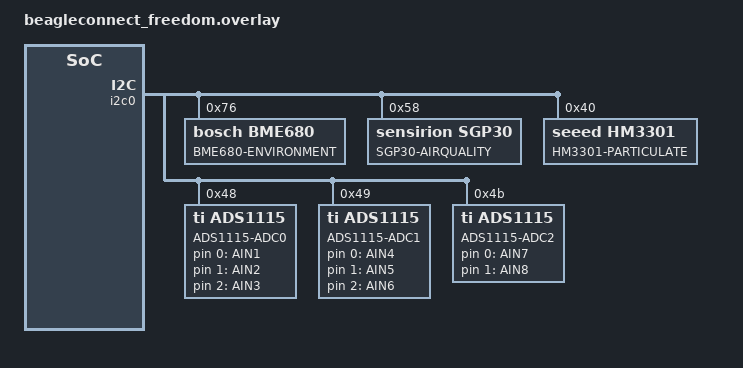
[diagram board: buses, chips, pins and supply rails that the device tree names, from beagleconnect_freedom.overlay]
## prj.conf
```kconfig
CONFIG_I2C_LOG_LEVEL_DBG=y
CONFIG_CONSOLE_SUBSYS=y
CONFIG_CONSOLE_GETCHAR=y
CONFIG_ENTROPY_GENERATOR=y
CONFIG_LED=y
CONFIG_LOG=y
CONFIG_SHELL=y
CONFIG_GPIO_SHELL=y
CONFIG_SENSOR=y
#CONFIG_SENSOR_LOG_LEVEL_DBG=y
CONFIG_ADC=y
CONFIG_ADC_ADS1115=y
CONFIG_BME680=y
CONFIG_HM3301=y
#CONFIG_SGP30=y
CONFIG_IEEE802154=y
CONFIG_NETWORKING=y
CONFIG_NET_ICMPV6_LOG_LEVEL_DBG=y
CONFIG_NET_HOSTNAME_ENABLE=y
CONFIG_NET_IF_UNICAST_IPV6_ADDR_COUNT=3
CONFIG_NET_IF_MCAST_IPV6_ADDR_COUNT=4
CONFIG_NET_SHELL=y
CONFIG_NET_TCP=y
#CONFIG_NET_TCP1=y
CONFIG_NET_MAX_CONN=8
CONFIG_NET_MAX_CONTEXTS=10
CONFIG_NET_CONTEXT_NET_PKT_POOL=y
CONFIG_NET_PKT_RX_COUNT=8
CONFIG_NET_BUF_RX_COUNT=64
CONFIG_NET_PKT_TX_COUNT=20
CONFIG_NET_BUF_TX_COUNT=50
CONFIG_NET_STATISTICS=y
CONFIG_NET_LOG=y
CONFIG_MDNS_RESPONDER=y
CONFIG_DNS_SD=y
CONFIG_NET_CONFIG_AUTO_INIT=y
CONFIG_NET_CONFIG_SETTINGS=y
CONFIG_NET_CONFIG_MY_IPV6_ADDR="2001:db8::1"
CONFIG_NET_CONFIG_PEER_IPV6_ADDR="2001:db8::2"
CONFIG_NET_SOCKETS=y
CONFIG_NET_SOCKETS_POSIX_NAMES=y
CONFIG_NET_SOCKETS_POLL_MAX=8
CONFIG_NET_CONNECTION_MANAGER=y
CONFIG_NET_CONFIG_NEED_IPV6=y
CONFIG_NET_CONFIG_NEED_IPV4=n
CONFIG_NET_L2_IEEE802154=y
CONFIG_NET_L2_IEEE802154_SHELL=y
CONFIG_NET_L2_IEEE802154_LOG_LEVEL_INF=y
CONFIG_NET_CONFIG_IEEE802154_CHANNEL=26
CONFIG_NET_CONFIG_IEEE802154_DEV_NAME="IEEE802154_0"
#CONFIG_NET_CONFIG_IEEE802154_CHANNEL=1
#CONFIG_NET_CONFIG_IEEE802154_DEV_NAME="IEEE802154_1"
CONFIG_IEEE802154_CC13XX_CC26XX=y
CONFIG_IEEE802154_CC13XX_CC26XX_SUB_GHZ=n
#CONFIG_IEEE802154_CC13XX_CC26XX=n
#CONFIG_IEEE802154_CC13XX_CC26XX_SUB_GHZ=y
CONFIG_NET_CONFIG_IEEE802154_RADIO_TX_POWER=20

# Hacks
CONFIG_NEWLIB_LIBC=y
CONFIG_POSIX_MAX_FDS=16
CONFIG_PTHREAD_IPC=y
CONFIG_MAX_PTHREAD_COUNT=16
#CONFIG_PTHREAD_DYNAMIC_STACK=y

# Telnet
CONFIG_NET_SHELL=y
CONFIG_KERNEL_SHELL=y
CONFIG_SHELL_BACKEND_TELNET=y
CONFIG_SHELL_TELNET_SUPPORT_COMMAND=y
```

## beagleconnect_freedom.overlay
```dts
/*
 * Copyright (c) 2020, Jason Kridner, BeagleBoard.org Foundation
 *
 * SPDX-License-Identifier: Apache-2.0
 */

/ {
	zephyr,user {
		io-channels = <&adsadc0 0>, <&adsadc0 1>, <&adsadc0 2>,
			<&adsadc1 0>, <&adsadc1 1>, <&adsadc1 2>,
			<&adsadc2 0>, <&adsadc2 1>, <&adsadc2 2>;
		io-channel-names = "AIN1", "AIN2", "AIN3",
			"AIN4", "AIN5", "AIN6", "AIN7", "AIN8", "AIN9";
	};
};

&i2c0 {
	// Grove module defaults to 0x76
	// Environment Click defaults to 0x77
	environment: bme680@76 {
		compatible = "bosch,bme680";
		reg = <0x76>;
		label = "BME680-ENVIRONMENT";
	};

	airquality: sgp30@58 {
		compatible = "sensirion,sgp30";
		reg = <0x58>;
		label = "SGP30-AIRQUALITY";
	};

	particulate: hm3301@40 {
		compatible = "seeed,hm3301";
		reg = <0x40>;
		label = "HM3301-PARTICULATE";
	};

	adsadc0: ads1115_0@48 {
		compatible = "ti,ads1115";
		#io-channel-cells = <1>;
		reg = <0x48>;
		/* sample_rate = <> */
		continuous_mode = <0>;
		/* avg_method = "rms"; */
		label = "ADS1115-ADC0";
	};

	adsadc1: ads1115_1@49 {
		compatible = "ti,ads1115";
		#io-channel-cells = <1>;
		reg = <0x49>;
		continuous_mode = <0>;
		label = "ADS1115-ADC1";
	};

	adsadc2: ads1115_2@4b {
		compatible = "ti,ads1115";
		#io-channel-cells = <1>;
		reg = <0x4b>;
		continuous_mode = <0>;
		label = "ADS1115-ADC2";
	};
};
```

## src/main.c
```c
/*
 * Copyright (c) 2020 Friedt Professional Engineering Services, Inc
 * Copyright (c) 2020 Jason Kridner
 *
 * SPDX-License-Identifier: Apache-2.0
 */

#include <zephyr.h>
#include <device.h>
#include <drivers/gpio.h>
#include <drivers/led.h>
#include <drivers/sensor.h>
#include <drivers/adc.h>
#include <stdio.h>
#include <stdbool.h>
#include <stdint.h>
#include <string.h>
#include <net/net_ip.h>
#include <net/socket.h>
#include <sys/util.h>
#include <random/rand32.h>
#include <devicetree.h>
#include <devicetree/io-channels.h>
#include <errno.h>
#include <linker/sections.h>
#include <net/net_core.h>
#include <net/net_mgmt.h>

#include <math.h>

#define LOG_LEVEL LOG_LEVEL_INF
#include <logging/log.h>
LOG_MODULE_REGISTER(sensortest);

#define MCAST_IP6ADDR "ff84::2"

#define BLINK_MS 500

#define ADC_NUM_CHANNELS	DT_PROP_LEN(DT_PATH(zephyr_user), io_channels)
#define ADC_NODE		DT_PHANDLE(DT_PATH(zephyr_user), io_channels)
#define ADC_REFERENCE		ADC_REF_INTERNAL
#define ADC_ACQUISITION_TIME	ADC_ACQ_TIME_DEFAULT
#define ADC_REF_MV		49152  /* 4.096V * 12x divider * 1000mV/V */

#define MAX_STR_LEN 200
static char outstr[MAX_STR_LEN];

enum api {
	BUTTON_API,
	SENSOR_API,
	ADC_API,
};

enum edev {
	BUTTON,
	LIGHT,
	ACCEL,
	HUMIDITY,
	ENVIRONMENT,
	AIRQUALITY,
	PARTICULATE,
	ADC_0,
	ADC_1,
	ADC_2,
	NUM_DEVICES,
};

struct led_work {
	uint8_t active_led;
	struct k_work_delayable dwork;
};

static void sensor_work_handler(struct k_work *work);

static const char *device_labels[NUM_DEVICES] = {
	[BUTTON] = DT_LABEL(DT_ALIAS(sw0)),
	[LIGHT] = "LIGHT",
	[ACCEL] = "ACCEL",
	[HUMIDITY] = "HUMIDITY",
	[ENVIRONMENT] = "ENVIRONMENT",
	[AIRQUALITY] = "AIRQUALITY",
	[PARTICULATE] = "PARTICULATE",
	[ADC_0] = "ADC_0",
	[ADC_1] = "ADC_1",
	[ADC_2] = "ADC_2",
};

static const char *device_names[NUM_DEVICES] = {
	[BUTTON] = DT_GPIO_LABEL(DT_ALIAS(sw0), gpios),
	[LIGHT] = "OPT3001-LIGHT",
	[ACCEL] = "LIS2DE12-ACCEL",
	[HUMIDITY] = "HDC2010-HUMIDITY",
	[ENVIRONMENT] = "BME680-ENVIRONMENT",
	[AIRQUALITY] = "SGP30-AIRQUALITY",
	[PARTICULATE] = "HM3301-PARTICULATE",
	[ADC_0] = "ADS1115-ADC0",
	[ADC_1] = "ADS1115-ADC1",
	[ADC_2] = "ADS1115-ADC2",
};

static const uint8_t device_pins[NUM_DEVICES] = {
	[BUTTON] = DT_GPIO_PIN(DT_ALIAS(sw0), gpios),
};

static const enum api apis[NUM_DEVICES] = {
	BUTTON_API,
	SENSOR_API, /* LIGHT */
	SENSOR_API, /* ACCEL */
	SENSOR_API, /* HUMIDITY */
	SENSOR_API, /* ENVIRONMENT */
	SENSOR_API, /* AIRQUALITY */
	SENSOR_API, /* PARTICULATE */
	ADC_API, /* ADC_0 */
	ADC_API, /* ADC_1 */
	ADC_API, /* ADC_2 */
};

static struct device *devices[NUM_DEVICES];

static struct k_work_delayable adc_dwork;
static struct led_work led_work;
K_WORK_DEFINE(sensor_work, sensor_work_handler);
static struct gpio_callback button_callback;

static struct sockaddr_in6 addr;
static int fd = -1;

/* Set TIMED_SENSOR_READ to 0 to disable */
#define TIMED_SENSOR_READ 60
static int sensor_read_count = TIMED_SENSOR_READ;

static void setup_telnet_ipv6(struct net_if *iface)
{
	char hr_addr[NET_IPV6_ADDR_LEN];
	struct in6_addr addr;

	if (net_addr_pton(AF_INET6, CONFIG_NET_CONFIG_MY_IPV6_ADDR, &addr)) {
		LOG_ERR("Invalid address: %s", CONFIG_NET_CONFIG_MY_IPV6_ADDR);
		return;
	}

	net_if_ipv6_addr_add(iface, &addr, NET_ADDR_MANUAL, 0);

	LOG_INF("IPv6 address: %s",
		log_strdup(net_addr_ntop(AF_INET6, &addr, hr_addr,
					 NET_IPV6_ADDR_LEN)));

	if (net_addr_pton(AF_INET6, MCAST_IP6ADDR, &addr)) {
		LOG_ERR("Invalid address: %s", MCAST_IP6ADDR);
		return;
	}

	net_if_ipv6_maddr_add(iface, &addr);
}

static void led_work_handler(struct k_work *work)
{
	ARG_UNUSED(work);

	int r;

	/*
	uint8_t prev_led;

	LOG_DBG("%s(): active_led: %u", __func__, led_work.active_led);

	if (led_work.active_led == LED_SUBG) {
		prev_led = LED_24G;
	} else {
		prev_led = LED_SUBG;
	}

	r = gpio_pin_set(devices[prev_led], device_pins[prev_led], 0);
	__ASSERT(r == 0, "failed to turn off led %u: %d", prev_led, r);

	r = gpio_pin_set(devices[led_work.active_led],
			 device_pins[led_work.active_led], 1);
	__ASSERT(r == 0, "failed to turn on led %u: %d", led_work.active_led,
		 r);

	if (led_work.active_led == LED_SUBG) {
		led_work.active_led = LED_24G;
	} else {
		led_work.active_led = LED_SUBG;
	}
	*/

	r = k_work_schedule(&led_work.dwork, K_MSEC(BLINK_MS));
	__ASSERT(r == 0, "k_work_schedule() failed for LED %u work: %d",
		 led_work.active_led, r);

	if (sensor_read_count > 0) {
		sensor_read_count--;
		if (sensor_read_count <= 0) {
			sensor_read_count = TIMED_SENSOR_READ;
			if(TIMED_SENSOR_READ > 0)
				sensor_read_count +=
				       	sys_rand32_get() % TIMED_SENSOR_READ;
			k_work_submit(&sensor_work);
		}
	}
}

static void print_sensor_value(size_t idx, const char *chan,
			       struct sensor_value *val)
{
	LOG_INF("%s: %s%d,%d", device_labels[idx], chan, val->val1, val->val2);

	sprintf(outstr+strlen(outstr), "%d%c:", idx, chan[0]);
	sprintf(outstr+strlen(outstr), "%d", val->val1);
	if (val->val2 != 0) {
		sprintf(outstr+strlen(outstr), ".%02d;", abs(val->val2) / 10000);
	} else {
		sprintf(outstr+strlen(outstr), ";");
	}
}

static void send_sensor_value()
{
	if ((fd >= 0) && (strlen(outstr) > 0)) {
		//LOG_INF("%s", log_strdup(outstr));
		sendto(fd, outstr, strlen(outstr), 0,
			(const struct sockaddr *) &addr,
			sizeof(addr));
	}

	outstr[0] = '\0';
}

/* Sampling frequency: 475Hz, 2.1ms
 * Oversample window: 32 samples, 67.3ms, 14.8Hz
 * Data window: 16 RMS samples, 1.1s of data
 */

#define NUM_SAMPLES 16
uint16_t ain0_buffer[NUM_SAMPLES];
char ain0_txbuf[3+NUM_SAMPLES*2] = "A0:";

struct adc_channel_cfg ain0_channel_cfg = {
	.gain = ADC_GAIN_1,
	.reference = ADC_REF_INTERNAL,
	.acquisition_time = ADC_ACQ_TIME_DEFAULT,
	.channel_id = DT_IO_CHANNELS_INPUT_BY_IDX(DT_PATH(zephyr_user), 0),
	.differential = 0,
};

const struct adc_sequence_options ain0_seq_options = {
	.interval_us = 1000,
	.extra_samplings = NUM_SAMPLES-1,
	.callback = NULL,
	.user_data = NULL,
};

struct adc_sequence sequence0 = {
	.options = &ain0_seq_options,
	.channels = 1,
	.buffer = ain0_buffer,
	.buffer_size = sizeof(ain0_buffer),
	.resolution = 16,
	.oversampling = 5,
	.calibrate = false,
};

static void adc_work_handler(struct k_work *work)
{
	int err;
	const struct device * dev = devices[ADC_0];

	err = adc_read(dev, &sequence0);
	if (err != 0) {
		LOG_ERR("ADC reading failed with error %d.", err);
		return;
	}

	LOG_INF("ADC reading:");
	for (uint8_t i = 0; i < 2*NUM_SAMPLES; i+=2) {
		int32_t raw_value = ain0_buffer[i/2];
		int32_t mv_value = raw_value;
		adc_raw_to_millivolts(ADC_REF_MV, ADC_GAIN_1,
			16, &mv_value);
		LOG_INF(" %d: %d = %d mV", i/2, raw_value, mv_value);
	}

	if ((fd >= 0)) {
		memcpy(ain0_txbuf+3, ain0_buffer, NUM_SAMPLES*2);
		sendto(fd, ain0_txbuf, 3+NUM_SAMPLES*2, 0,
			(const struct sockaddr *) &addr,
			sizeof(addr));
	}

	err = k_work_schedule(&adc_dwork, K_MSEC(5000));
	__ASSERT(err == 0, "k_work_schedule() failed for adc_dwork: %d", r);

	return;
}

static void sensor_work_handler(struct k_work *work)
{
	struct sensor_value val;
	struct sensor_value th[2] = {{0,0}, {0,0}}; /* calibration data for SGP30 */

	outstr[0] = '\0';

	for (size_t i = 0; i < NUM_DEVICES; ++i) {
		if (apis[i] != SENSOR_API) {
			continue;
		}

		if (devices[i] == NULL) {
			continue;
		}

		sensor_sample_fetch(devices[i]);

		if (i == LIGHT) {
			sensor_channel_get(devices[i], SENSOR_CHAN_LIGHT, &val);
			print_sensor_value(i, "l: ", &val);
			send_sensor_value();
			continue;
		}

		if (i == ACCEL) {
			sensor_channel_get(devices[i], SENSOR_CHAN_ACCEL_X,
					   &val);
			print_sensor_value(i, "x: ", &val);
			sensor_channel_get(devices[i], SENSOR_CHAN_ACCEL_Y,
					   &val);
			print_sensor_value(i, "y: ", &val);
			sensor_channel_get(devices[i], SENSOR_CHAN_ACCEL_Z,
					   &val);
			print_sensor_value(i, "z: ", &val);
			send_sensor_value();
			continue;
		}

		if (i == HUMIDITY) {
			sensor_channel_get(devices[i], SENSOR_CHAN_HUMIDITY,
					   &val);
			print_sensor_value(i, "h: ", &val);
			sensor_channel_get(devices[i], SENSOR_CHAN_AMBIENT_TEMP,
					   &val);
			print_sensor_value(i, "t: ", &val);
			send_sensor_value();
			continue;
		}

		if (i == ENVIRONMENT) {
			sensor_channel_get(devices[i], SENSOR_CHAN_AMBIENT_TEMP, &val);
			th[0].val1 = val.val1;
			th[0].val2 = val.val2;
			print_sensor_value(i, "t: ", &val);
			sensor_channel_get(devices[i], SENSOR_CHAN_PRESS, &val);
			print_sensor_value(i, "p: ", &val);
			sensor_channel_get(devices[i], SENSOR_CHAN_HUMIDITY, &val);
			th[1].val1 = val.val1;
			th[1].val2 = val.val2;
			print_sensor_value(i, "h: ", &val);
			sensor_channel_get(devices[i], SENSOR_CHAN_GAS_RES, &val);
			print_sensor_value(i, "g: ", &val);
			send_sensor_value();
			continue;
		}
		
		if (i == AIRQUALITY) {
			sensor_channel_get(devices[i], SENSOR_CHAN_VOC, &val);
			print_sensor_value(i, "v: ", &val);
			sensor_channel_get(devices[i], SENSOR_CHAN_CO2, &val);
			print_sensor_value(i, "c: ", &val);
			if(th[0].val1 != 0) {
				sensor_attr_set(devices[i], SENSOR_CHAN_VOC,
					SENSOR_ATTR_CALIB_TARGET, &th[0]);
			}
			send_sensor_value();
			continue;
		}

		if (i == PARTICULATE) {
			sensor_channel_get(devices[i], SENSOR_CHAN_PM_1_0, &val);
			print_sensor_value(i, "1: ", &val);
			sensor_channel_get(devices[i], SENSOR_CHAN_PM_2_5, &val);
			print_sensor_value(i, "2: ", &val);
			sensor_channel_get(devices[i], SENSOR_CHAN_PM_10, &val);
			print_sensor_value(i, "X: ", &val);
			send_sensor_value();
			continue;
		}

		if(i == ADC_0) {
			sensor_channel_get(devices[i], SENSOR_CHAN_VOLTAGE, &val);
			print_sensor_value(i, "ADC_0: ", &val);
			send_sensor_value();
			continue;
		};

		if(i == ADC_1) {
			sensor_channel_get(devices[i], SENSOR_CHAN_VOLTAGE, &val);
			print_sensor_value(i, "ADC_1: ", &val);
			send_sensor_value();
			continue;
		};

		if(i == ADC_2) {
			sensor_channel_get(devices[i], SENSOR_CHAN_VOLTAGE, &val);
			print_sensor_value(i, "ADC_2: ", &val);
			send_sensor_value();
			continue;
		};
	}
}

static void button_handler(struct device *port, struct gpio_callback *cb,
			   gpio_port_pins_t pins)
{
	ARG_UNUSED(port);

	gpio_pin_t pin = device_pins[BUTTON];
	gpio_port_pins_t mask = BIT(pin);

	if ((mask & cb->pin_mask) != 0) {
		if ((mask & pins) != 0) {
			/* BEL (7) triggers BEEP on MSP430 */
			LOG_INF("%c%s event", 7, device_labels[BUTTON]);
			/* print sensor readings */
			k_work_submit(&sensor_work);
		}
	}
}

void main(void)
{
	int r;
	struct net_if *iface = net_if_get_default();

	outstr[0] = '\0';

	fd = socket(AF_INET6, SOCK_DGRAM, IPPROTO_UDP);
	if (fd < 0) {
		LOG_ERR("failed to open socket");
	} else {
		memset(&addr, 0, sizeof(struct sockaddr_in6));
		addr.sin6_family = AF_INET6;
		addr.sin6_port = htons(9999);
		inet_pton(AF_INET6, "ff02::1", &addr.sin6_addr);
	}

	setup_telnet_ipv6(iface);

	for (size_t i = 0; i < NUM_DEVICES; ++i) {
		LOG_INF("opening device %s", device_labels[i]);
		devices[i] =
			(struct device *)device_get_binding(device_names[i]);
		if (devices[i] == NULL) {
			LOG_ERR("failed to open device %s", device_labels[i]);
			continue;
		}

		/* per-device setup */
		switch (apis[i]) {
		/*
		case LED_API:
			r = gpio_pin_configure(devices[i], device_pins[i],
					       GPIO_OUTPUT_LOW);
			__ASSERT(r == 0,
				 "gpio_pin_configure(%s, %u, %x) failed: %d",
				 device_labels[i], device_pins[i],
				 GPIO_OUTPUT_LOW, r);
			break;
		*/
		case BUTTON_API:
			r = gpio_pin_configure(
				devices[i], device_pins[i],
				(GPIO_INPUT |
				 DT_GPIO_FLAGS(DT_ALIAS(sw0), gpios)));
			__ASSERT(r == 0,
				 "gpio_pin_configure(%s, %u, %x) failed: %d",
				 device_labels[i], device_pins[i],
				 (GPIO_INPUT |
				  DT_GPIO_FLAGS(DT_ALIAS(sw0), gpios)),
				 r);
			r = gpio_pin_interrupt_configure(
				devices[i], device_pins[i],
				GPIO_INT_EDGE_TO_ACTIVE);
			__ASSERT(
				r == 0,
				"gpio_pin_interrupt_configure(%s, %u, %x) failed: %d",
				device_labels[i], device_pins[i],
				GPIO_INT_EDGE_TO_ACTIVE, r);
			break;

		case SENSOR_API:
			break;

		default:
			break;
		}
	}

	/* setup timer-driven LED event */
	k_work_init_delayable(&led_work.dwork, led_work_handler);
	//led_work.active_led = LED_SUBG;
	r = k_work_schedule(&led_work.dwork, K_MSEC(BLINK_MS));
	__ASSERT(r == 0, "k_work_schedule() failed for LED %u work: %d",
		 LED_SUBG, r);

	if(devices[ADC_0])
	{
		LOG_INF("setting up device %s", device_labels[ADC_0]);

		adc_channel_setup(devices[ADC_0], &ain0_channel_cfg);

		/* setup timer-driven ADC event */
		k_work_init_delayable(&adc_dwork, adc_work_handler);
		r = k_work_schedule(&adc_dwork, K_MSEC(2500));
		__ASSERT(r == 0, "k_work_schedule() failed for adc_dwork: %d", r);
	}

	/* setup input-driven button event */
	gpio_init_callback(
		&button_callback, (gpio_callback_handler_t)button_handler,
		BIT(device_pins[BUTTON]));
	r = gpio_add_callback(devices[BUTTON], &button_callback);
	__ASSERT(r == 0, "gpio_add_callback() failed: %d", r);

	for (;;) {
		k_sleep(K_MSEC(1000));
	}
}
```
